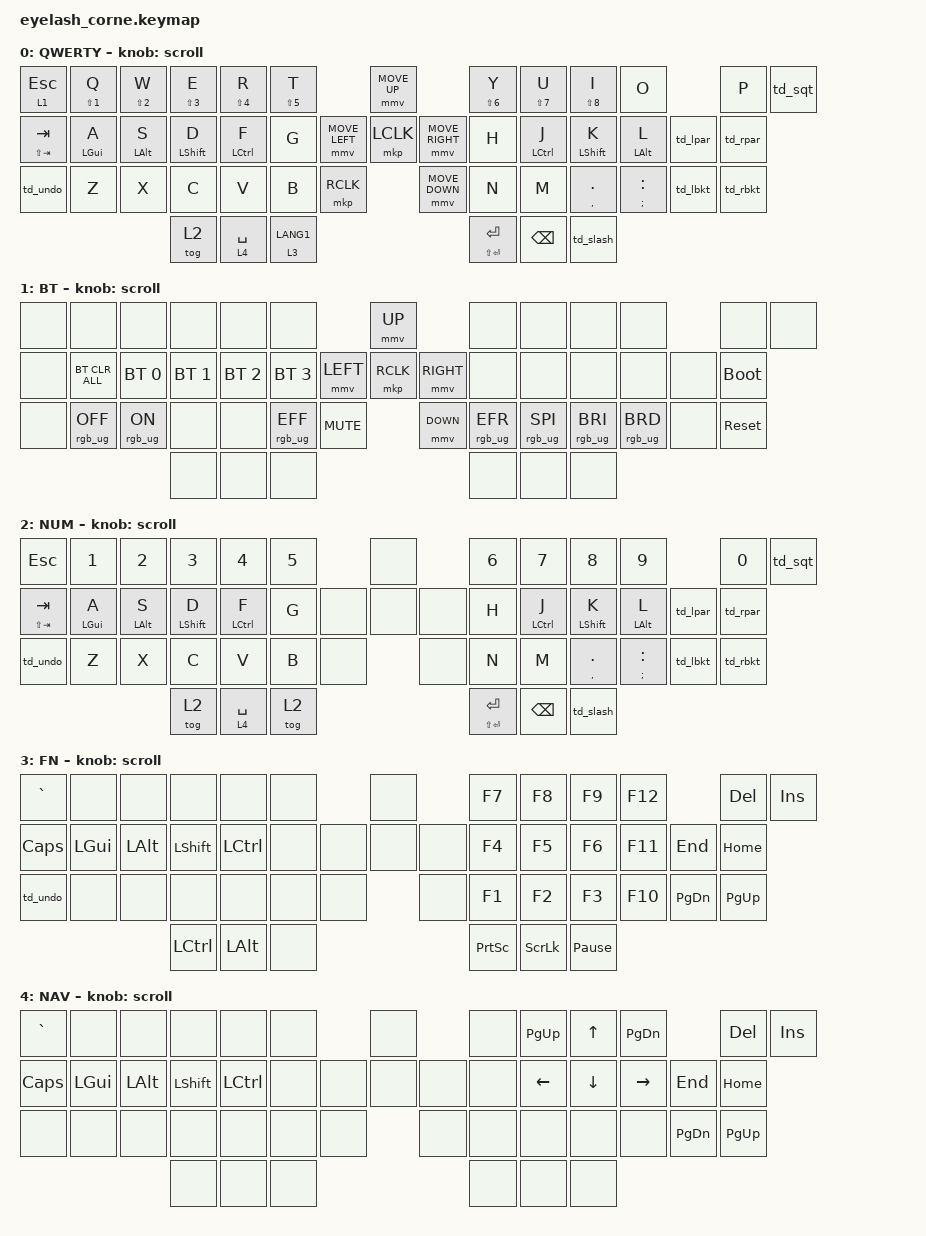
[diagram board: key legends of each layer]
#include <input/processors.dtsi>
#include <zephyr/dt-bindings/input/input-event-codes.h>
#include <behaviors.dtsi>
#include <dt-bindings/zmk/bt.h>
#include <dt-bindings/zmk/ext_power.h>
#include <dt-bindings/zmk/keys.h>
#include <dt-bindings/zmk/outputs.h>
#include <dt-bindings/zmk/pointing.h>
#include <dt-bindings/zmk/rgb.h>

&mmv_input_listener { input-processors = <&zip_xy_scaler 2 1>; };

&msc_input_listener { input-processors = <&zip_scroll_scaler 2 1>; };

&msc {
    acceleration-exponent = <1>;      // 0
    time-to-max-speed-ms = <100>;       // 300
    delay-ms = <0>;                   // 0
};

&mmv {
    time-to-max-speed-ms = <500>;
    acceleration-exponent = <1>;
    trigger-period-ms = <16>;
};

/* 
KEY POSITIONS
╭────────────────────────╮ ╭────────────────────────╮     
│ 0   1   2   3   4   5  │ │ 7   8   9   10  11  12 │         
│ 13  14  15  16  17  18 │ │ 22  23  24  25  26  27 │     
│ 28  29  30  31  32  33 │ │ 36  37  38  39  40  41 │   
╰───────────╮ 42  43  44 │ │ 45  46  47 ╭───────────╯     
            ╰────────────╯ ╰────────────╯ 

QWERTY POSITIONS
╭────────────────────────╮ ╭────────────────────────╮     
│ 0   Q   W   E   R   T  │ │ Y   U   I   O   P   12 │         
│ 13  A   S   D   F   G  │ │ H   J   K   L   ;   27 │
│ 28  Z   X   C   V   B  │ │ N   M   ,   .   /   41 │
╰───────────╮ 42  43  44 │ │ 45  46  47 ╭───────────╯     
            ╰────────────╯ ╰────────────╯ 

JOYSTICK POSITIONS
╭──────────╮
│    6     │
│ 19 35 20 │
│    21    │
╰──────────╯
*/

#define ZMK_POINTING_DEFAULT_MOVE_VAL 1200  // 600
#define ZMK_POINTING_DEFAULT_SCRL_VAL 25   // 10

#define U_MOUSE_MOVE_EXPONENT 2
// #define U_MOUSE_MOVE_TIME 650
#define U_MOUSE_MOVE_DELAY 0

#define U_MOUSE_SCROLL_EXPONENT 1
#define U_MOUSE_SCROLL_TIME 5000
#define U_MOUSE_SCROLL_DELAY 0

// homerow therms

#define TAP_TERM_MS 320
#define QUICK_TAP_MS 175
#define REQ_PRIOR_IDLE_MS 150

// combo terms

#define COMBO_TERM_FAST 18
#define COMBO_IDLE_FAST 150
#define COMBO_TERM_SLOW 30
#define COMBO_IDLE_SLOW 50

// tapdance terms

#define TAPDANCE_TERM 300

// key positions

#define LEFT_KEYS 0 1 2 3 4 5 13 14 15 16 17 18 28 29 30 31 32 33
#define RIGHT_KEYS 7 8 9 10 11 12 22 23 24 25 26 27 36 37 38 39 40 41
#define LEFT_THUMB_KEYS 42 43 44
#define RIGHT_THUMB_KEYS 45 46 47
#define ALL_THUMB_KEYS 42 43 44 45 46 47
#define JOYSTICK_KEYS 6 19 20 21 35 // up left right down click

/ {
    behaviors {
        td_dot: td_dot {
            compatible = "zmk,behavior-tap-dance";
            #binding-cells = <0>;
            tapping-term-ms = <TAPDANCE_TERM>;
            bindings = <&kp DOT>, <&kp COMMA>;
        };

        td_colon_semi: td_colon_semi {
            compatible = "zmk,behavior-tap-dance";
            #binding-cells = <0>;
            tapping-term-ms = <TAPDANCE_TERM>;
            bindings = <&kp COLON>, <&kp SEMI>;
        };

        td_lpar: td_lpar {
            compatible = "zmk,behavior-tap-dance";
            #binding-cells = <0>;
            tapping-term-ms = <TAPDANCE_TERM>;
            bindings = <&lhm LGUI LPAR>, <&kp LBRC>; 
        };

        td_rpar: td_rpar {
            compatible = "zmk,behavior-tap-dance";
            #binding-cells = <0>;
            tapping-term-ms = <TAPDANCE_TERM>;
            bindings = <&kp RPAR>, <&kp RBRC>; 
        };


        td_lbkt: td_lbkt {
            compatible = "zmk,behavior-tap-dance";
            #binding-cells = <0>;
            tapping-term-ms = <TAPDANCE_TERM>;
            bindings = <&kp LBKT>, <&kp LT>;
        };

        td_rbkt: td_rbkt {
            compatible = "zmk,behavior-tap-dance";
            #binding-cells = <0>;
            tapping-term-ms = <TAPDANCE_TERM>;
            bindings = <&kp RBKT>, <&kp GT>;
        };

        td_sqt: td_sqt {
            compatible = "zmk,behavior-tap-dance";
            #binding-cells = <0>;
            tapping-term-ms = <TAPDANCE_TERM>;
            bindings = <&kp SQT>, <&kp DQT>;
        };

        td_slash: td_slash {
            compatible = "zmk,behavior-tap-dance";
            #binding-cells = <0>;
            tapping-term-ms = <TAPDANCE_TERM>;
            bindings = <&rhm BSLH SLASH>, <&kp PIPE>;
        };

        td_copy: td_copy {
            compatible = "zmk,behavior-tap-dance";
            #binding-cells = <0>;
            tapping-term-ms = <TAPDANCE_TERM>;
            bindings = <&lhm LC(C) LC(V)>,  <&kp LC(X)>;
        };

        td_undo: td_undo {
            compatible = "zmk,behavior-tap-dance";
            #binding-cells = <0>;
            tapping-term-ms = <TAPDANCE_TERM>;
            bindings = <&lhm LC(Y) LC(Z)>,  <&kp LC(X)>;
        };


        lhm: left_homerow_mods {
            compatible = "zmk,behavior-hold-tap";
            flavor = "balanced";
            bindings = <&kp>, <&kp>;

            #binding-cells = <2>;
            tapping-term-ms = <TAP_TERM_MS>;
            quick-tap-ms = <QUICK_TAP_MS>;
            require-prior-idle-ms = <REQ_PRIOR_IDLE_MS>;
            hold-trigger-key-positions = <RIGHT_KEYS>, <ALL_THUMB_KEYS>;

            hold-trigger-on-release;
        };

        rhm: right_homerow_mods {
            compatible = "zmk,behavior-hold-tap";
            flavor = "balanced";
            bindings = <&kp>, <&kp>;

            #binding-cells = <2>;
            tapping-term-ms = <TAP_TERM_MS>;
            quick-tap-ms = <QUICK_TAP_MS>;
            require-prior-idle-ms = <REQ_PRIOR_IDLE_MS>;
            hold-trigger-key-positions = <LEFT_KEYS>, <ALL_THUMB_KEYS>;

            hold-trigger-on-release;
        };
    };

    rgb_encoder: rgb_encoder {
        compatible = "zmk,behavior-sensor-rotate";
        #sensor-binding-cells = <0>;
        bindings = <&rgb_ug RGB_BRI>, <&rgb_ug RGB_BRD>;
    };

    scroll: scroll {
        compatible = "zmk,behavior-sensor-rotate";
        #sensor-binding-cells = <0>;
        bindings = <&msc SCRL_DOWN>, <&msc SCRL_UP>;
        tap-ms = <100>;
    };

    combos {
        compatible = "zmk,combos";

        // Horizontal ==============================

     

        // Left - <1 2> <14 15> <29 30>

        // qw {
        //     bindings = <&kp LC(A)>;
        //     key-positions = <1 2>;
        //     layers = <0>;
        //     timeout-ms = <COMBO_IDLE_FAST>;
        //     require-prior-idle-ms = <COMBO_TERM_FAST>;
        // };

        // as {
        //     bindings = <&kp LC(S)>;
        //     key-positions = <14 15>;
        //     layers = <0>;
        //     timeout-ms = <COMBO_IDLE_FAST>;
        //     require-prior-idle-ms = <COMBO_TERM_FAST>;
        // };

        // zx {
        //     bindings = <&kp LC(Z)>;
        //     key-positions = <29 30>;
        //     layers = <0>;
        //     timeout-ms = <COMBO_IDLE_FAST>;
        //     require-prior-idle-ms = <COMBO_TERM_FAST>;
        // };

        // Right - <22 36> <23 37> <24 38> <25 39>

        under {
            bindings = <&kp UNDER>;
            key-positions = <40 41>;
            layers = <0 2>;
            timeout-ms = <COMBO_IDLE_SLOW>;
            require-prior-idle-ms = <COMBO_TERM_SLOW>;
        };

        minus {
            bindings = <&kp MINUS>;
            key-positions = <26 27>;
            layers = <0 2>;
            timeout-ms = <COMBO_IDLE_SLOW>;
            require-prior-idle-ms = <COMBO_TERM_SLOW>;
        };

        equal {
            bindings = <&kp EQUAL>;
            key-positions = <11 12>;
            layers = <0 2>;
            timeout-ms = <COMBO_IDLE_SLOW>;
            require-prior-idle-ms = <COMBO_TERM_SLOW>;
        };

        copy {
            bindings = <&kp LC(C)>;
            key-positions = <17 13>;
            layers = <0 2>;
            timeout-ms = <COMBO_IDLE_FAST>;
            require-prior-idle-ms = <COMBO_TERM_FAST>;
        };

        paste {
            bindings = <&kp LC(LS(V))>;
            key-positions = <16 13>;
            layers = <0 2>;
            timeout-ms = <COMBO_IDLE_FAST>;
            require-prior-idle-ms = <COMBO_TERM_FAST>;
        };

        // save {
        //     bindings = <&kp LC(S)>;
        //     key-positions = <23 46>;
        //     layers = <0 2>;
        //     timeout-ms = <COMBO_IDLE_FAST>;
        //     require-prior-idle-ms = <COMBO_TERM_FAST>;
        // };

        close {
            bindings = <&kp LA(F4)>;
            key-positions = <0 13>;
            layers = <0 2>;
            timeout-ms = <COMBO_IDLE_FAST>;
            require-prior-idle-ms = <COMBO_TERM_FAST>;
        };

        minimize {
            bindings = <&kp LG(DOWN)>;
            key-positions = <12 27>;
            layers = <0 2>;
            timeout-ms = <COMBO_IDLE_FAST>;
            require-prior-idle-ms = <COMBO_TERM_FAST>;
        };
    };

   macros {
        zed_em_kay: zed_em_kay {
            compatible = "zmk,behavior-macro";
            #binding-cells = <0>;
            bindings
                = <&macro_press &kp LSHFT>
                , <&macro_tap &kp Z &kp M &kp K>
                , <&macro_release &kp LSHFT>
                ;
        };
    };

    keymap {
        compatible = "zmk,keymap";

        default_layer {
            display-name = "QWERTY";
            bindings = <
&lt 1 ESC         &lhm LS(N1) Q  &lhm LS(N2) W  &lhm LS(N3) E   &lhm LS(N4) R  &lhm LS(N5) T                              &mmv MOVE_UP                  &rhm LS(N6) Y  &rhm LS(N7) U  &rhm LS(N8) I    &kp  O           &kp P     &td_sqt
&lhm LS(TAB) TAB  &lhm LGUI A    &lhm LALT S   &lhm LSHIFT D  &lhm LCTRL F  &kp G                     &mmv MOVE_LEFT  &mkp LCLK    &mmv MOVE_RIGHT  &kp H         &rhm LCTRL J  &rhm LSHIFT K   &rhm LALT L      &td_lpar  &td_rpar
&td_undo          &kp Z          &kp X         &kp C          &kp V         &kp B    &mkp RCLK                        &mmv MOVE_DOWN                &kp N         &kp M         &rhm COMMA DOT  &rhm SEMI COLON  &td_lbkt  &td_rbkt
                                            &tog 2         &lt 4 SPACE   &lt 3 LANG1                                                      &rhm LS(ENTER) ENTER     &kp BSPC      &td_slash
            >;

            sensor-bindings = <&scroll>;
        };

        lower_layer {
            display-name = "BT";
            bindings = <
&none  &none            &none           &none         &none         &none                                     &mmv UP                &none            &none         &none           &none          &none  &none
&none  &bt BT_CLR_ALL   &bt BT_SEL 0    &bt BT_SEL 1  &bt BT_SEL 2  &bt BT_SEL 3                   &mmv LEFT  &mkp RCLK  &mmv RIGHT  &none             &none           &none         &none              &none  &bootloader
&none  &rgb_ug RGB_OFF  &rgb_ug RGB_ON  &none         &none         &rgb_ug RGB_EFF  &kp C_MUTE               &mmv DOWN              &rgb_ug RGB_EFR  &rgb_ug RGB_SPI  &rgb_ug RGB_BRI  &rgb_ug RGB_BRD  &none   &sys_reset
                                        &none         &none         &none                                                            &none            &none            &none
            >;

            sensor-bindings = <&scroll>;
        };

        raise_layer {
            display-name = "NUM";
            bindings = <
&kp ESC           &kp N1       &kp N2       &kp N3         &kp N4        &kp N5                        &none           &kp N6        &kp N7          &kp N8           &kp N9            &kp N0    &td_sqt
&lhm LS(TAB) TAB  &lhm LGUI A  &lhm LALT S  &lhm LSHIFT D  &lhm LCTRL F  &kp G                   &none &none  &none    &kp H         &rhm LCTRL J  &rhm LSHIFT K     &rhm LALT L      &td_lpar    &td_rpar
&td_undo          &kp Z        &kp X        &kp C          &kp V         &kp B      &none              &none           &kp N         &kp M         &rhm COMMA DOT    &rhm SEMI COLON  &td_lbkt    &td_rbkt
                                            &tog 2         &lt 4 SPACE   &tog 2                                        &rhm LS(ENTER) ENTER  &kp BSPC &td_slash
            >;

            sensor-bindings = <&scroll>;
        };

        FN {
            display-name = "FN";
            bindings = <
&kp GRAVE   &none     &none     &none       &none      &none                   &none         &kp F7    &kp F8   &kp F9  &kp F12  &kp DEL   &kp INS
&kp CAPS    &kp LGUI  &kp LALT  &kp LSHIFT  &kp LCTRL  &none            &none  &none  &none  &kp F4    &kp F5   &kp F6  &kp F11  &kp END   &kp HOME
&td_undo    &none     &none     &none       &none      &none   &none           &none         &kp F1    &kp F2   &kp F3  &kp F10  &kp PG_DN &kp PAGE_UP
                                &kp LCTRL   &kp LALT    &none                                &kp PSCRN &kp SLCK  &kp PAUSE_BREAK
            >;

            sensor-bindings = <&scroll>;
        };

        NAV {
            display-name = "NAV";
            bindings = <
&kp GRAVE &none     &none     &none       &none      &none                  &none         &none  &kp PG_UP  &kp UP    &kp PG_DN  &kp DEL   &kp INS
&kp CAPS  &kp LGUI  &kp LALT  &kp LSHIFT  &kp LCTRL  &none           &none  &none  &none  &none  &kp LEFT   &kp DOWN  &kp RIGHT  &kp END   &kp HOME
&none     &none     &none     &none       &none      &none  &none           &none         &none  &none      &none     &none      &kp PG_DN &kp PAGE_UP
                              &none       &none      &none                                &none  &none      &none
            >;

            sensor-bindings = <&scroll>;
        };
    };
};


